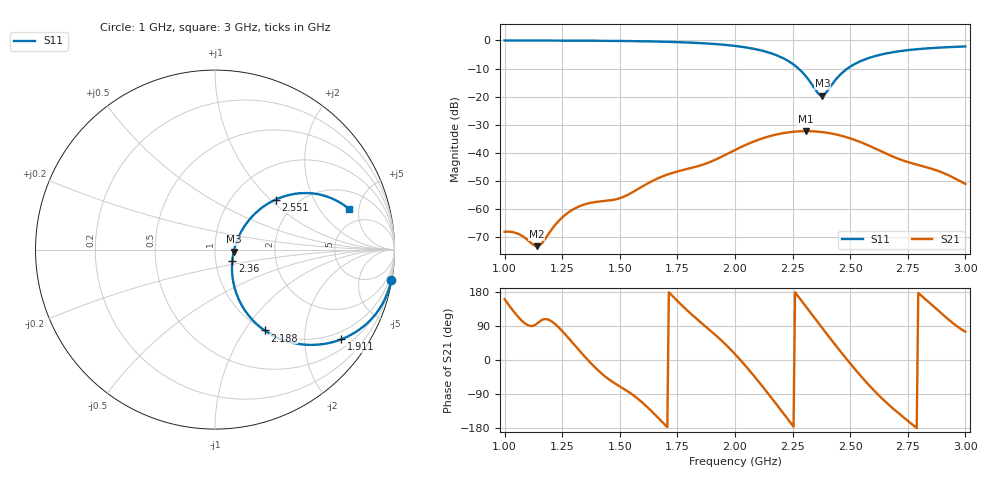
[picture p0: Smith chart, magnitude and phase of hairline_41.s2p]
! TOUCHSTONE file generated by CST MICROWAVE STUDIO
! Date and time: Tue Mar 18 20:31:54 2025
! Project name: hairline.cst
! Parameters = {B=12.5; D=160; F=15; Feed=2.85625; Fracture=1; L=100; M=50; R=0.384908; S=1.5; Theta=270; length=57.125; wave=114.25}
! Header version: 2024
! Port assignment regex: !\s*Touchstone port\s*([0-9]+)\s*=\s*(CST MWS port|CST DES external port|CST DES block port)\s*(.+)\s* \(\"(.*)\"\)(\s*mode\s*([0-9]+))?.*
! Touchstone port assignment:
! Touchstone port 1 = CST MWS port 1 ("")
! Touchstone port 2 = CST MWS port 2 ("")
# GHz S DB R 50
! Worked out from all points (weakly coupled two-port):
!   304 points, 1 GHz to 3 GHz, reference 50 ohm
!   highest |S21| = -32.25 dB at 2.307 GHz (marker M1); lowest = -73.1 dB at 1.139 GHz (marker M2)
!   lowest |S11| = -19.6 dB at 2.38 GHz (marker M3), VSWR 1.23, Z = 61.6 - j1.51 ohm
!   |S11| at or under -10 dB: 2.276 GHz to 2.488 GHz (212.9 MHz wide, 8.94 % of centre)
!   S12 and S22 are empty: the file has one direction only
!   S11 on the Smith chart (normalised r, x): 1 GHz: 0, -12; 1.911 GHz: 0.75, -2.96; 2.188 GHz: 0.99, -1.24; 2.36 GHz: 1.20, -0.16; 2.551 GHz: 1.57, +1.08; 3 GHz: 3.41, +3.92
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1  -0.02 -9.8  -68.03 160.4  -200.00 0.0  -200.00 0.0
1.05941  -0.03 -10.6  -68.76 113.4  -200.00 0.0  -200.00 0.0
1.13861  -0.04 -11.7  -73.14 95.1  -200.00 0.0  -200.00 0.0
1.15842  -0.04 -12.0  -72.40 104.3  -200.00 0.0  -200.00 0.0
1.25083  -0.07 -13.6  -62.87 75.8  -200.00 0.0  -200.00 0.0
1.33663  -0.10 -15.2  -58.58 16.6  -200.00 0.0  -200.00 0.0
1.50165  -0.20 -19.0  -56.04 -70.4  -200.00 0.0  -200.00 0.0
1.66667  -0.42 -24.0  -48.98 -152.6  -200.00 0.0  -200.00 0.0
1.91089  -1.27 -35.4  -42.55 68.3  -200.00 0.0  -200.00 0.0
2.0033  -2.00 -41.6  -38.83 13.4  -200.00 0.0  -200.00 0.0
2.10891  -3.48 -50.6  -35.11 -61.9  -200.00 0.0  -200.00 0.0
2.18812  -5.54 -58.5  -33.29 -123.4  -200.00 0.0  -200.00 0.0
2.25413  -8.58 -63.9  -32.47 -176.0  -200.00 0.0  -200.00 0.0
2.30693  -12.67 -62.4  -32.25 141.6  -200.00 0.0  -200.00 0.0
2.33993  -16.41 -51.1  -32.32 115.1  -200.00 0.0  -200.00 0.0
2.35974  -18.73 -33.7  -32.43 99.3  -200.00 0.0  -200.00 0.0
2.37954  -19.58 -6.6  -32.60 83.6  -200.00 0.0  -200.00 0.0
2.46535  -11.53 41.4  -33.97 16.8  -200.00 0.0  -200.00 0.0
2.55116  -7.17 39.5  -36.36 -45.8  -200.00 0.0  -200.00 0.0
2.66997  -4.42 31.6  -40.74 -119.5  -200.00 0.0  -200.00 0.0
2.88779  -2.56 20.5  -46.59 127.3  -200.00 0.0  -200.00 0.0
3  -2.16 16.8  -51.02 74.6  -200.00 0.0  -200.00 0.0
